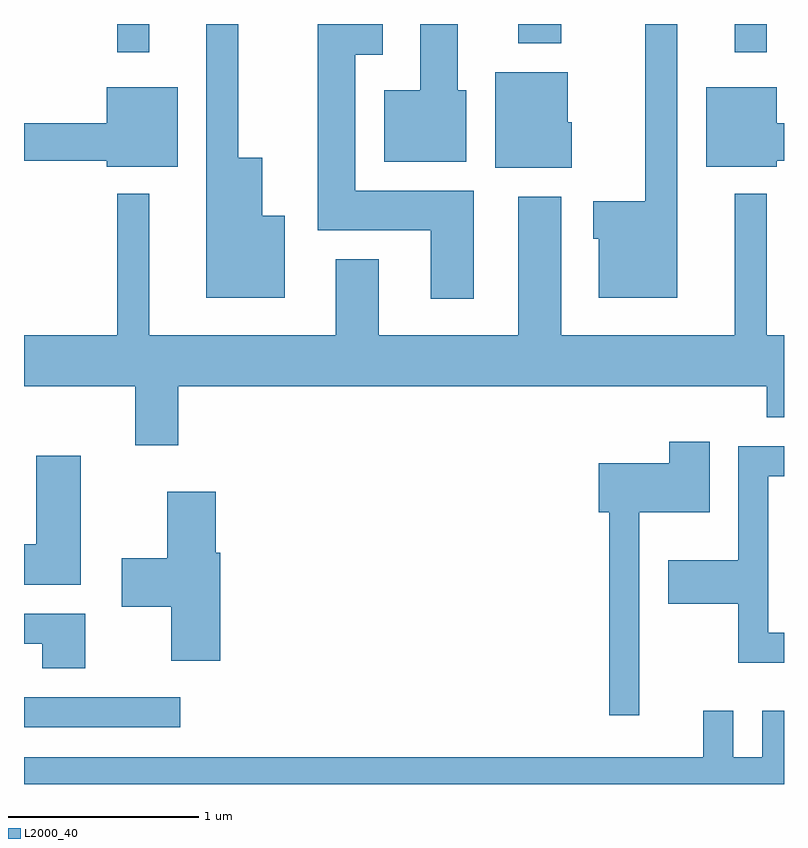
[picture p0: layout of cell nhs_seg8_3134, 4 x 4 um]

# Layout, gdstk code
import gdstk
lib = gdstk.Library(unit=1e-6, precision=1e-09)
def R(c, l, rs):  # rectangles x0, y0, x1, y1
    for r in rs: c.add(gdstk.rectangle(r[:2], r[2:], *l))
def P(c, l, *ps):  # polygons
    for p in ps: c.add(gdstk.Polygon(p, *l))
L2000_40 = (2000, 40)

nhs_seg8_3134 = lib.new_cell('nhs_seg8_3134')
R(nhs_seg8_3134, L2000_40, [(279.611,1814.641,280.433,1814.799), (280.101,1818.193,280.269,1818.342), (283.351,1818.193,283.519,1818.342), (282.211,1818.241,282.439,1818.342)])
P(nhs_seg8_3134, L2000_40, [(283.049,1818.342),(282.881,1818.342),(282.881,1817.409),(282.606,1817.409),(282.606,1817.211),(282.636,1817.211),(282.636,1816.901),(283.049,1816.901)],
  [(281.979,1817.464),(281.354,1817.464),(281.354,1818.181),(281.499,1818.181),(281.499,1818.342),(281.156,1818.342),(281.156,1817.256),(281.751,1817.256),(281.751,1816.896),(281.979,1816.896)],
  [(281.939,1817.994),(281.894,1817.994),(281.894,1818.342),(281.696,1818.342),(281.696,1817.994),(281.506,1817.994),(281.506,1817.616),(281.939,1817.616)],
  [(280.984,1817.334),(280.864,1817.334),(280.864,1817.639),(280.739,1817.639),(280.739,1818.342),(280.571,1818.342),(280.571,1816.901),(280.984,1816.901)],
  [(282.494,1817.824),(282.474,1817.824),(282.474,1818.089),(282.091,1818.089),(282.091,1817.586),(282.494,1817.586)],
  [(283.574,1817.621),(283.611,1817.621),(283.611,1817.819),(283.574,1817.819),(283.574,1818.009),(283.201,1818.009),(283.201,1817.591),(283.574,1817.591)],
  [(280.419,1818.009),(280.046,1818.009),(280.046,1817.819),(279.611,1817.819),(279.611,1817.621),(280.046,1817.621),(280.046,1817.591),(280.419,1817.591)],
  [(280.424,1816.436),(283.521,1816.436),(283.521,1816.271),(283.611,1816.271),(283.611,1816.704),(283.519,1816.704),(283.519,1817.448),(283.351,1817.448),(283.351,1816.704),(282.439,1816.704),(282.439,1817.434),(282.211,1817.434),(282.211,1816.704),(281.479,1816.704),(281.479,1817.104),(281.251,1817.104),(281.251,1816.704),(280.269,1816.704),(280.269,1817.448),(280.101,1817.448),(280.101,1816.704),(279.611,1816.704),(279.611,1816.436),(280.196,1816.436),(280.196,1816.126),(280.424,1816.126)],
  [(282.849,1815.771),(283.219,1815.771),(283.219,1816.144),(283.006,1816.144),(283.006,1816.029),(282.636,1816.029),(282.636,1815.771),(282.691,1815.771),(282.691,1814.703),(282.849,1814.703)],
  [(283.611,1815.139),(283.529,1815.139),(283.529,1815.961),(283.611,1815.961),(283.611,1816.119),(283.371,1816.119),(283.371,1815.519),(283.001,1815.519),(283.001,1815.291),(283.371,1815.291),(283.371,1814.981),(283.611,1814.981)],
  [(279.909,1816.069),(279.676,1816.069),(279.676,1815.604),(279.611,1815.604),(279.611,1815.391),(279.909,1815.391)],
  [(280.644,1815.559),(280.619,1815.559),(280.619,1815.879),(280.366,1815.879),(280.366,1815.529),(280.126,1815.529),(280.126,1815.276),(280.386,1815.276),(280.386,1814.991),(280.644,1814.991)],
  [(279.934,1815.239),(279.611,1815.239),(279.611,1815.081),(279.706,1815.081),(279.706,1814.951),(279.934,1814.951)],
  [(283.611,1814.728),(283.496,1814.728),(283.496,1814.484),(283.344,1814.484),(283.344,1814.728),(283.186,1814.728),(283.186,1814.484),(279.611,1814.484),(279.611,1814.342),(283.611,1814.342)])

lib.write_gds('nhs_seg8_3134.gds')
